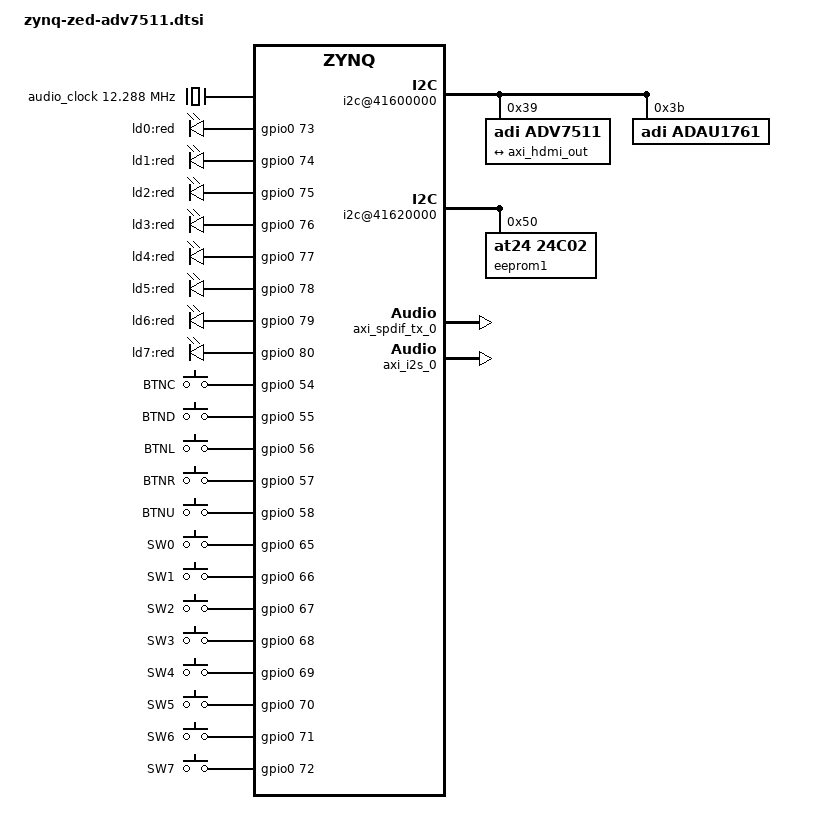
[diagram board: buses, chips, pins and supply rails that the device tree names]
// SPDX-License-Identifier: GPL-2.0
/* Copyright (C) 2024 Analog Devices Inc. */

/*
 * This file contains the common zedboard FPGA devices defined in:
 * https://github.com/analogdevicesinc/hdl/tree/main/projects/common/zed
 */

#include <dt-bindings/gpio/gpio.h>

/ {
	fpga_axi: fpga-axi@0 {
		compatible = "simple-bus";
		#address-cells = <0x1>;
		#size-cells = <0x1>;
		ranges;

		i2c@41600000 {
			compatible = "xlnx,axi-iic-1.01.b", "xlnx,xps-iic-2.00.a";
			reg = <0x41600000 0x10000>;
			interrupt-parent = <&intc>;
			interrupts = <0 58 IRQ_TYPE_LEVEL_HIGH>;
			clocks = <&clkc 15>;
			clock-names = "pclk";

			#size-cells = <0>;
			#address-cells = <1>;

			adv7511: hdmi@39 {
				compatible = "adi,adv7511";
				reg = <0x39>, <0x3f>;
				reg-names = "primary", "edid";

				adi,input-depth = <8>;
				adi,input-colorspace = "yuv422";
				adi,input-clock = "1x";
				adi,input-style = <1>;
				adi,input-justification = "right";
				adi,clock-delay = <0>;

				#sound-dai-cells = <1>;

				ports {
					#address-cells = <1>;
					#size-cells = <0>;

					port@0 {
						reg = <0>;
						adv7511_in: endpoint {
							remote-endpoint = <&axi_hdmi_out>;
						};
					};

					port@1 {
						reg = <1>;
					};
				};
			};

			adau1761: audio-codec@3b {
				compatible = "adi,adau1761";
				reg = <0x3b>;

				clocks = <&audio_clock>;
				clock-names = "mclk";

				#sound-dai-cells = <0>;
			};
		};

		i2c@41620000 {
			compatible = "xlnx,axi-iic-1.01.b", "xlnx,xps-iic-2.00.a";
			reg = <0x41620000 0x10000>;
			interrupt-parent = <&intc>;
			interrupts = <0 55 IRQ_TYPE_LEVEL_HIGH>;
			clocks = <&clkc 15>;
			clock-names = "pclk";

			#size-cells = <0>;
			#address-cells = <1>;

			eeprom1: eeprom@50 {
				compatible = "at24,24c02";
				reg = <0x50>;
			};

		};

		hdmi_dma: dma-controller@43000000 {
			compatible = "adi,axi-dmac-1.00.a";
			reg = <0x43000000 0x1000>;
			#dma-cells = <1>;
			interrupts = <0 59 IRQ_TYPE_LEVEL_HIGH>;
			clocks = <&clkc 16>;
		};

		hdmi_clock: clock-controller@79000000 {
			compatible = "adi,axi-clkgen-2.00.a";
			reg = <0x79000000 0x10000>;
			#clock-cells = <0>;
			clocks = <&clkc 16>, <&clkc 15>;
			clock-names = "clkin1", "s_axi_aclk";
		};

		lcd-controller@70e00000 {
			compatible = "adi,axi-hdmi-tx-1.00.a";
			reg = <0x70e00000 0x10000>;
			dmas = <&hdmi_dma 0>;
			dma-names = "video";
			clocks = <&hdmi_clock>;

			port {
				axi_hdmi_out: endpoint {
					remote-endpoint = <&adv7511_in>;
				};
			};
		};

		axi_spdif_tx_0: spdif@75c00000 {
			compatible = "adi,axi-spdif-tx-1.00.a";
			reg = <0x75c00000 0x1000>;
			dmas = <&dmac_s 0>;
			dma-names = "tx";
			clocks = <&clkc 15>, <&audio_clock>;
			clock-names = "axi", "ref";

			#sound-dai-cells = <0>;
		};

		axi_i2s_0: i2s@77600000 {
			compatible = "adi,axi-i2s-1.00.a";
			reg = <0x77600000 0x1000>;
			dmas = <&dmac_s 1 &dmac_s 2>;
			dma-names = "tx", "rx";
			clocks = <&clkc 15>, <&audio_clock>;
			clock-names = "axi", "ref";

			#sound-dai-cells = <0>;
		};

		axi_sysid_0: sysid@45000000 {
			compatible = "adi,axi-sysid-1.00.a";
			reg = <0x45000000 0x10000>;
		};
	};

	audio_clock: audio_clock {
		compatible = "fixed-clock";
		#clock-cells = <0>;
		clock-frequency = <12288000>;
	};

	adv7511_hdmi_snd {
		compatible = "simple-audio-card";
		simple-audio-card,name = "HDMI monitor";
		simple-audio-card,widgets =
			"Speaker", "Speaker";
		simple-audio-card,routing =
			"Speaker", "TX";

		simple-audio-card,dai-link@0 {
			format = "spdif";
			cpu {
				sound-dai = <&axi_spdif_tx_0>;
			};
			codec {
				sound-dai = <&adv7511 1>;
			};
		};
	};

	zed_sound {
		compatible = "simple-audio-card";
		simple-audio-card,name = "ZED ADAU1761";
		simple-audio-card,widgets =
			"Microphone", "Mic In",
			"Headphone", "Headphone Out",
			"Line", "Line In",
			"Line", "Line Out";
		simple-audio-card,routing =
			"Line Out", "LOUT",
			"Line Out", "ROUT",
			"Headphone Out", "LHP",
			"Headphone Out", "RHP",
			"Mic In", "MICBIAS",
			"LINN", "Mic In",
			"RINN", "Mic In",
			"LAUX", "Line In",
			"RAUX", "Line In";

		simple-audio-card,dai-link@0 {
			format = "i2s";
			cpu {
				sound-dai = <&axi_i2s_0>;
			};
			codec {
				sound-dai = <&adau1761>;
			};
		};
	};

	leds {
		compatible = "gpio-leds";
		ld0 {
			label = "ld0:red";
			gpios = <&gpio0 73 0>;
		};

		ld1 {
			label = "ld1:red";
			gpios = <&gpio0 74 0>;
		};

		ld2 {
			label = "ld2:red";
			gpios = <&gpio0 75 0>;
		};

		ld3 {
			label = "ld3:red";
			gpios = <&gpio0 76 0>;
		};

		ld4 {
			label = "ld4:red";
			gpios = <&gpio0 77 0>;
		};

		ld5 {
			label = "ld5:red";
			gpios = <&gpio0 78 0>;
		};

		ld6 {
			label = "ld6:red";
			gpios = <&gpio0 79 0>;
		};

		ld7 {
			label = "ld7:red";
			gpios = <&gpio0 80 0>;
		};
	};

	gpio-keys {
		compatible = "gpio-keys";

		button-center {
			label = "BTNC";
			linux,code = <BTN_SELECT>;
			gpios = <&gpio0 54 GPIO_ACTIVE_HIGH>;
		};

		button-down {
			label = "BTND";
			linux,code = <BTN_DPAD_DOWN>;
			gpios = <&gpio0 55 GPIO_ACTIVE_HIGH>;
		};

		button-left {
			label = "BTNL";
			linux,code = <BTN_DPAD_LEFT>;
			gpios = <&gpio0 56 GPIO_ACTIVE_HIGH>;
		};

		button-right {
			label = "BTNR";
			linux,code = <BTN_DPAD_RIGHT>;
			gpios = <&gpio0 57 GPIO_ACTIVE_HIGH>;
		};

		button-up {
			label = "BTNU";
			linux,code = <BTN_DPAD_UP>;
			gpios = <&gpio0 58 GPIO_ACTIVE_HIGH>;
		};

		switch-0 {
			label = "SW0";
			linux,code = <BTN_0>;
			gpios = <&gpio0 65 GPIO_ACTIVE_HIGH>;
		};

		switch-1 {
			label = "SW1";
			linux,code = <BTN_1>;
			gpios = <&gpio0 66 GPIO_ACTIVE_HIGH>;
		};

		switch-2 {
			label = "SW2";
			linux,code = <BTN_2>;
			gpios = <&gpio0 67 GPIO_ACTIVE_HIGH>;
		};

		switch-3 {
			label = "SW3";
			linux,code = <BTN_3>;
			gpios = <&gpio0 68 GPIO_ACTIVE_HIGH>;
		};

		switch-4 {
			label = "SW4";
			linux,code = <BTN_4>;
			gpios = <&gpio0 69 GPIO_ACTIVE_HIGH>;
		};

		switch-5 {
			label = "SW5";
			linux,code = <BTN_5>;
			gpios = <&gpio0 70 GPIO_ACTIVE_HIGH>;
		};

		switch-6 {
			label = "SW6";
			linux,code = <BTN_6>;
			gpios = <&gpio0 71 GPIO_ACTIVE_HIGH>;
		};

		switch-7 {
			label = "SW7";
			linux,code = <BTN_7>;
			gpios = <&gpio0 72 GPIO_ACTIVE_HIGH>;
		};
	};
};

&usb0 {
	xlnx,phy-reset-gpio = <&gpio0 85 GPIO_ACTIVE_HIGH>;
};
